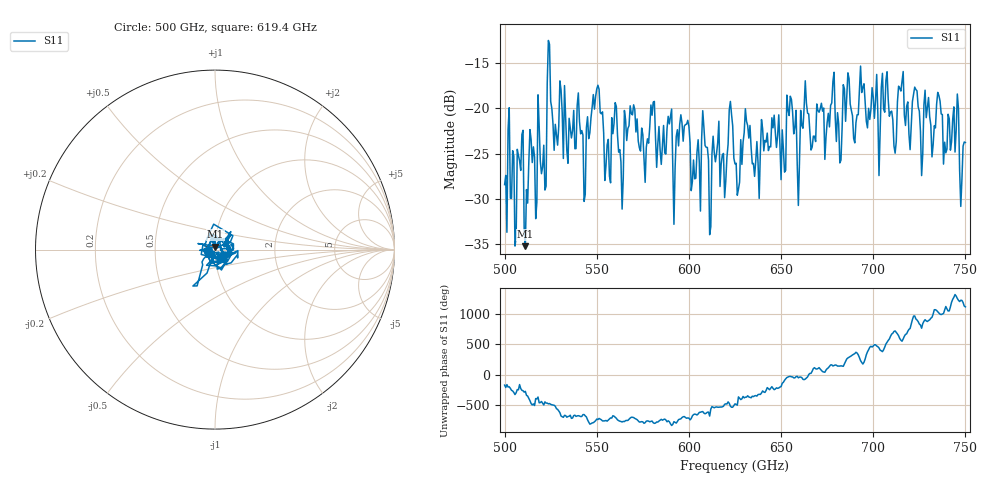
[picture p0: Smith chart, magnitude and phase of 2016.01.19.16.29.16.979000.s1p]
!Created with skrf (http://scikit-rf.org).
# GHz S RI R 50.0
!freq ReS11 ImS11
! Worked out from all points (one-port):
!   401 points, 500 GHz to 750 GHz, reference 50 ohm
!   lowest |S11| = -35.2 dB at 511.2 GHz (marker M1), VSWR 1.04, Z = 50.1 + j1.73 ohm
!   |S11| at or under -10 dB: start of sweep to end of sweep
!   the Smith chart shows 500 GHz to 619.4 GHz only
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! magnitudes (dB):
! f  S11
! 500 GHz  -28.4
! 508.8 GHz  -26.9
! 511.2 GHz  -35.2
! 514.4 GHz  -23.5
! 521.2 GHz  -24.1
! 524.4 GHz  -12.9
! 527.5 GHz  -21.8
! 531.2 GHz  -20.4
! 542.5 GHz  -23.0
! 550.6 GHz  -17.4
! 555.6 GHz  -24.0
! 559.4 GHz  -21.6
! 562.5 GHz  -24.6
! 569.4 GHz  -20.7
! 593.8 GHz  -22.4
! 602.5 GHz  -25.7
! 608.8 GHz  -24.1
! 611.2 GHz  -34.0
! 622.5 GHz  -19.2
! 625 GHz  -26.1
! 651.2 GHz  -24.5
! 656.2 GHz  -20.4
! 660 GHz  -25.8
! 663.8 GHz  -19.4
! 681.2 GHz  -21.7
! 687.5 GHz  -19.5
! 718.8 GHz  -19.3
! 750 GHz  -23.8
